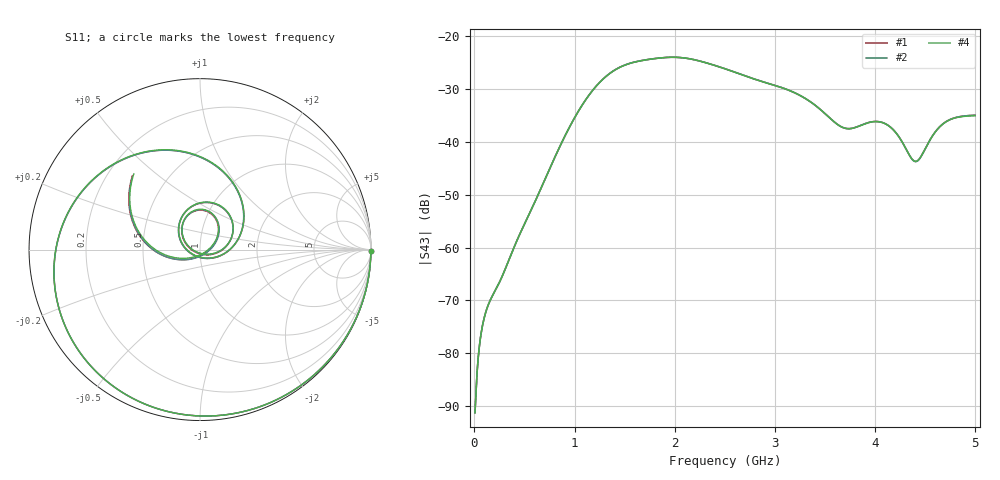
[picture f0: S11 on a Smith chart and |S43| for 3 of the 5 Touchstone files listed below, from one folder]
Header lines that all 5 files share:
! TOUCHSTONE file generated by CST MICROWAVE STUDIO
! Parameters = {Lg_partial=9.8; R=26.6; SL=63; SW=63; extx=4; h=1.6; scale=0.7; wf=3; xl=31.5; yc1=4.9; yc2=4.9; yl=45.5}
! Header version: 2015
! Port assignment regex: !\s*Touchstone port\s*([0-9]+)\s*=\s*CST MWS port\s*([0-9]+)\s*\(\"(.*)\"\)(\s*mode\s*([0-9]+))?.*
! Touchstone port assignment:
! Touchstone port 1 = CST MWS port 1 ("")
! Touchstone port 2 = CST MWS port 2 ("")
! Touchstone port 3 = CST MWS port 3 ("")
! Touchstone port 4 = CST MWS port 4 ("")
! Touchstone port 5 = CST MWS port 5 ("")
! Touchstone port 6 = CST MWS port 6 ("")
# GHz S MA R 50
Fixed: Lg_partial = 9.8, R = 26.6, SL = 63, SW = 63, extx = 4, h = 1.6, scale = 0.7, wf = 3, xl = 31.5, yc1 = 4.9, yc2 = 4.9, yl = 45.5
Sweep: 5 MHz to 5 GHz
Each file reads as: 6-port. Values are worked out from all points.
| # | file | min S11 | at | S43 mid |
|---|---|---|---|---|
| 1 | high_grade_glioma(-33,-5,-30).s6p | -32.3 dB | 3.45 GHz | -26.2 dB at 2.505 GHz |
| 2 | lowgrade.s6p | -33.5 dB | 3.45 GHz | -26.2 dB at 2.505 GHz |
| 3 | melignoma.s6p | -32.3 dB | 3.45 GHz | -26.2 dB at 2.505 GHz |
| 4 | tumor_2ndpos_1 (1).s6p | -34.0 dB | 3.445 GHz | -26.2 dB at 2.505 GHz |
| 5 | without_tumor_1 (5).s6p | -32.3 dB | 3.45 GHz | -26.2 dB at 2.505 GHz |
